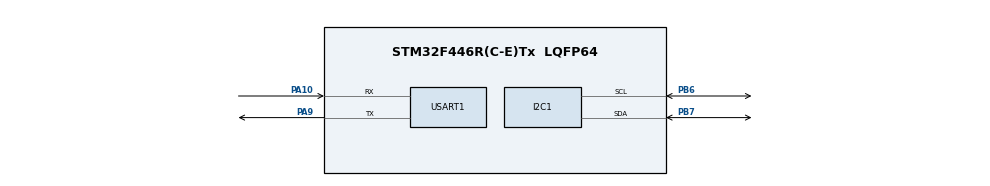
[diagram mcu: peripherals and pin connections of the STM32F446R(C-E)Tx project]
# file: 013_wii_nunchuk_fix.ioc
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Mcu.Family=STM32F4
Mcu.Name=STM32F446R(C-E)Tx
Mcu.Package=LQFP64
NVIC.I2C1_ER_IRQn=true\:0\:0\:false\:false\:true\:true\:true\:true
NVIC.I2C1_EV_IRQn=true\:0\:0\:false\:false\:true\:true\:true\:true
NVIC.PriorityGroup=NVIC_PRIORITYGROUP_4
NVIC.USART1_IRQn=true\:0\:0\:false\:false\:true\:true\:true\:true
PA10.Mode=Asynchronous
PA10.Signal=USART1_RX
PA9.Mode=Asynchronous
PA9.Signal=USART1_TX
PB6.Mode=I2C
PB6.Signal=I2C1_SCL
PB7.Mode=I2C
PB7.Signal=I2C1_SDA
ProjectManager.HeapSize=0x200
ProjectManager.StackSize=0x400
ProjectManager.TargetToolchain=STM32CubeIDE
RCC.CortexFreq_Value=16000000
RCC.USBFreq_Value=96000000
RCC.VCOOutputFreq_Value=192000000
TIM2.Period=200 - 1
TIM2.Prescaler=16000-1
USART1.VirtualMode=VM_ASYNC
VP_TIM2_VS_ClockSourceINT.Mode=Internal
board=custom

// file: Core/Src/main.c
/* USER CODE BEGIN Header */
/**
  ******************************************************************************
  * @file           : main.c
  * @brief          : Main program body
  ******************************************************************************
  * @attention
  *
  * Copyright (c) 2025 STMicroelectronics.
  * All rights reserved.
  *
  * This software is licensed under terms that can be found in the LICENSE file
  * in the root directory of this software component.
  * If no LICENSE file comes with this software, it is provided AS-IS.
  *
  ******************************************************************************
  */
/* USER CODE END Header */
#include "main.h"

/* USER CODE BEGIN Includes */
#include "wii_nunchuk.h"
#include <stdio.h>
#include <string.h>
/* USER CODE END Includes */

/* USER CODE BEGIN PD */
#define READ_INTERVAL_MS    200  // read nunchuk every 200ms
/* USER CODE END PD */

I2C_HandleTypeDef hi2c1;

TIM_HandleTypeDef htim2;

UART_HandleTypeDef huart1;

/* USER CODE BEGIN PV */
char readBuf[1];
uint8_t txData;
__IO ITStatus UartReady = SET;
RingBuffer txBuf, rxBuf;
wii_nunchuk_handle_t nunchuk_handle;
uint32_t last_read_time = 0;
char uart_buffer[200];
/* USER CODE END PV */

void SystemClock_Config(void);
static void MX_GPIO_Init(void);
static void MX_I2C1_Init(void);
static void MX_USART1_UART_Init(void);
static void MX_TIM2_Init(void);
/* USER CODE BEGIN PFP */
void print_nunchuk_data(wii_nunchuk_data_t *data);
void debug_print_raw_data(uint8_t *data, uint8_t size);
void debug_print_i2c_status(I2C_HandleTypeDef *hi2c);
/* USER CODE END PFP */

/* USER CODE BEGIN 0 */
void print_nunchuk_data_debug(wii_nunchuk_data_t *data)
{
    static uint32_t counter = 0;
    static char print_buffer[120];  // Static buffer to persist across function calls
    counter++;

    if (data->data_valid) {
        int len = snprintf(print_buffer, sizeof(print_buffer),
            "[%lu] Joy:%3d,%3d Acc:%4d,%4d,%4d Btn:C%d,Z%d\r\n",
            counter,
            data->joystick_x, data->joystick_y,
            data->accel_x, data->accel_y, data->accel_z,
            data->button_c, data->button_z);

        UART_Transmit(&huart1, (uint8_t*)print_buffer, len);
    } else {
        int len = snprintf(print_buffer, sizeof(print_buffer), "[%lu] INVALID\r\n", counter);
        UART_Transmit(&huart1, (uint8_t*)print_buffer, len);
    }
}
/* USER CODE END 0 */

int main(void)
{

  /* MCU Configuration--------------------------------------------------------*/

  /* Reset of all peripherals, Initializes the Flash interface and the Systick. */
  HAL_Init();

  /* Configure the system clock */
  SystemClock_Config();

  /* Initialize all configured peripherals */
  MX_GPIO_Init();
  MX_I2C1_Init();
  MX_USART1_UART_Init();
  MX_TIM2_Init();
  /* USER CODE BEGIN 2 */
  // Initialize ring buffers
  RingBuffer_Init(&txBuf);
  RingBuffer_Init(&rxBuf);

  // Initialize Wii Nunchuk driver - purely interrupt-driven
  UART_Transmit(&huart1, (uint8_t*)"Starting Nunchuk initialization...\r\n", 38);

  wii_nunchuk_result_t result = wii_nunchuk_init(&nunchuk_handle, &hi2c1, WII_NUNCHUK_WHITE);

  if (result == WII_NUNCHUK_OK) {
      UART_Transmit(&huart1, (uint8_t*)"Nunchuk initialization started successfully!\r\n", 46);
  } else {
      UART_Transmit(&huart1, (uint8_t*)"Nunchuk initialization failed!\r\n", 33);
  }

  HAL_TIM_Base_Start_IT(&htim2);
  /* USER CODE END 2 */

  /* Infinite loop */
  /* USER CODE BEGIN WHILE */
  while (1)
  {
	  __WFI();
    /* USER CODE END WHILE */

  }
}

void SystemClock_Config(void)
{
  RCC_OscInitTypeDef RCC_OscInitStruct = {0};
  RCC_ClkInitTypeDef RCC_ClkInitStruct = {0};

  /** Configure the main internal regulator output voltage
  */
  __HAL_RCC_PWR_CLK_ENABLE();
  __HAL_PWR_VOLTAGESCALING_CONFIG(PWR_REGULATOR_VOLTAGE_SCALE3);

  /** Initializes the RCC Oscillators according to the specified parameters
  * in the RCC_OscInitTypeDef structure.
  */
  RCC_OscInitStruct.OscillatorType = RCC_OSCILLATORTYPE_HSI;
  RCC_OscInitStruct.HSIState = RCC_HSI_ON;
  RCC_OscInitStruct.HSICalibrationValue = RCC_HSICALIBRATION_DEFAULT;
  RCC_OscInitStruct.PLL.PLLState = RCC_PLL_NONE;
  if (HAL_RCC_OscConfig(&RCC_OscInitStruct) != HAL_OK)
  {
    Error_Handler();
  }

  /** Initializes the CPU, AHB and APB buses clocks
  */
  RCC_ClkInitStruct.ClockType = RCC_CLOCKTYPE_HCLK|RCC_CLOCKTYPE_SYSCLK
                              |RCC_CLOCKTYPE_PCLK1|RCC_CLOCKTYPE_PCLK2;
  RCC_ClkInitStruct.SYSCLKSource = RCC_SYSCLKSOURCE_HSI;
  RCC_ClkInitStruct.AHBCLKDivider = RCC_SYSCLK_DIV1;
  RCC_ClkInitStruct.APB1CLKDivider = RCC_HCLK_DIV1;
  RCC_ClkInitStruct.APB2CLKDivider = RCC_HCLK_DIV1;

  if (HAL_RCC_ClockConfig(&RCC_ClkInitStruct, FLASH_LATENCY_0) != HAL_OK)
  {
    Error_Handler();
  }
}

static void MX_I2C1_Init(void)
{

  hi2c1.Instance = I2C1;
  hi2c1.Init.ClockSpeed = 100000;
  hi2c1.Init.DutyCycle = I2C_DUTYCYCLE_2;
  hi2c1.Init.OwnAddress1 = 0;
  hi2c1.Init.AddressingMode = I2C_ADDRESSINGMODE_7BIT;
  hi2c1.Init.DualAddressMode = I2C_DUALADDRESS_DISABLE;
  hi2c1.Init.OwnAddress2 = 0;
  hi2c1.Init.GeneralCallMode = I2C_GENERALCALL_DISABLE;
  hi2c1.Init.NoStretchMode = I2C_NOSTRETCH_DISABLE;
  if (HAL_I2C_Init(&hi2c1) != HAL_OK)
  {
    Error_Handler();
  }

}

static void MX_TIM2_Init(void)
{

  TIM_ClockConfigTypeDef sClockSourceConfig = {0};
  TIM_MasterConfigTypeDef sMasterConfig = {0};

  htim2.Instance = TIM2;
  htim2.Init.Prescaler = 16000-1;
  htim2.Init.CounterMode = TIM_COUNTERMODE_UP;
  htim2.Init.Period = 200 - 1;
  htim2.Init.ClockDivision = TIM_CLOCKDIVISION_DIV1;
  htim2.Init.AutoReloadPreload = TIM_AUTORELOAD_PRELOAD_DISABLE;
  if (HAL_TIM_Base_Init(&htim2) != HAL_OK)
  {
    Error_Handler();
  }
  sClockSourceConfig.ClockSource = TIM_CLOCKSOURCE_INTERNAL;
  if (HAL_TIM_ConfigClockSource(&htim2, &sClockSourceConfig) != HAL_OK)
  {
    Error_Handler();
  }
  sMasterConfig.MasterOutputTrigger = TIM_TRGO_RESET;
  sMasterConfig.MasterSlaveMode = TIM_MASTERSLAVEMODE_DISABLE;
  if (HAL_TIMEx_MasterConfigSynchronization(&htim2, &sMasterConfig) != HAL_OK)
  {
    Error_Handler();
  }

}

static void MX_USART1_UART_Init(void)
{

  huart1.Instance = USART1;
  huart1.Init.BaudRate = 115200;
  huart1.Init.WordLength = UART_WORDLENGTH_8B;
  huart1.Init.StopBits = UART_STOPBITS_1;
  huart1.Init.Parity = UART_PARITY_NONE;
  huart1.Init.Mode = UART_MODE_TX_RX;
  huart1.Init.HwFlowCtl = UART_HWCONTROL_NONE;
  huart1.Init.OverSampling = UART_OVERSAMPLING_16;
  if (HAL_UART_Init(&huart1) != HAL_OK)
  {
    Error_Handler();
  }

}

static void MX_GPIO_Init(void)
{

  /* GPIO Ports Clock Enable */
  __HAL_RCC_GPIOA_CLK_ENABLE();
  __HAL_RCC_GPIOB_CLK_ENABLE();

}

/* USER CODE BEGIN 4 */
uint8_t UART_Transmit(UART_HandleTypeDef *huart, uint8_t *pData, uint16_t len)
{
  if(HAL_UART_Transmit_IT(huart, pData, len) != HAL_OK)
  {
    if(RingBuffer_Write(&txBuf, pData, len) != RING_BUFFER_OK)
      return 0;
  }
  return 1;
}

void HAL_UART_RxCpltCallback(UART_HandleTypeDef *UartHandle)
{
 /* Set transmission flag: transfer complete*/
 UartReady = SET;
}

void HAL_UART_TxCpltCallback(UART_HandleTypeDef *huart)
{
  if(RingBuffer_GetDataLength(&txBuf) > 0)
  {
    RingBuffer_Read(&txBuf, &txData, 1);
    HAL_UART_Transmit_IT(huart, &txData, 1);
  }
}

void print_nunchuk_data(wii_nunchuk_data_t *data)
{
    if (data->data_valid)
    {
        int len = snprintf(uart_buffer, sizeof(uart_buffer),
            "Joystick: X=%3d Y=%3d | Accel: X=%4d Y=%4d Z=%4d | Buttons: C=%d Z=%d\r\n",
            data->joystick_x, data->joystick_y,
            data->accel_x, data->accel_y, data->accel_z,
            data->button_c, data->button_z);

        UART_Transmit(&huart1, (uint8_t*)uart_buffer, len);
    }
    else
    {
    	UART_Transmit(&huart1, (uint8_t*)"Invalid data received\r\n", 23);
    }
}

void HAL_I2C_MasterTxCpltCallback(I2C_HandleTypeDef *hi2c)
{
    if (hi2c == &hi2c1) {
        wii_nunchuk_i2c_tx_cplt_callback(&nunchuk_handle);
    }
}

void HAL_I2C_MasterRxCpltCallback(I2C_HandleTypeDef *hi2c)
{
    if (hi2c == &hi2c1) {
        wii_nunchuk_i2c_rx_cplt_callback(&nunchuk_handle);

        // Process data immediately in interrupt context
        if (wii_nunchuk_process_data(&nunchuk_handle) == WII_NUNCHUK_OK) {
            wii_nunchuk_data_t nunchuk_data;
            if (wii_nunchuk_get_data(&nunchuk_handle, &nunchuk_data) == WII_NUNCHUK_OK) {
                print_nunchuk_data_debug(&nunchuk_data);
            }
        }
    }
}

void HAL_I2C_ErrorCallback(I2C_HandleTypeDef *hi2c)
{
    if (hi2c == &hi2c1) {
        wii_nunchuk_i2c_error_callback(&nunchuk_handle);

        // Debug: Print I2C error
        char error_msg[50];
        int len = snprintf(error_msg, sizeof(error_msg), "I2C Error: 0x%08lX\r\n", hi2c->ErrorCode);
        UART_Transmit(&huart1, (uint8_t*)error_msg, len);
    }
}

void debug_print_raw_data(uint8_t *data, uint8_t size)
{
    char debug_buffer[150];
    int len = snprintf(debug_buffer, sizeof(debug_buffer), "Raw data: ");

    for(int i = 0; i < size; i++) {
        len += snprintf(debug_buffer + len, sizeof(debug_buffer) - len, "0x%02X ", data[i]);
    }
    len += snprintf(debug_buffer + len, sizeof(debug_buffer) - len, "\r\n");

    UART_Transmit(&huart1, (uint8_t*)debug_buffer, len);
}

void debug_print_i2c_status(I2C_HandleTypeDef *hi2c)
{
    char debug_buffer[100];
    int len = snprintf(debug_buffer, sizeof(debug_buffer),
        "I2C State: %d, Error: 0x%08lX\r\n",
        (int)hi2c->State, hi2c->ErrorCode);
    UART_Transmit(&huart1, (uint8_t*)debug_buffer, len);
}

void HAL_TIM_PeriodElapsedCallback(TIM_HandleTypeDef *htim)
{
    if (htim == &htim2) {
        // Automatically trigger nunchuk read every 200ms
        wii_nunchuk_update(&nunchuk_handle);

        if (wii_nunchuk_get_state(&nunchuk_handle) == WII_NUNCHUK_STATE_READY) {
            wii_nunchuk_read_async(&nunchuk_handle);
        }
    }
}
/* USER CODE END 4 */

void Error_Handler(void)
{
  __disable_irq();
  while (1)
  {
  }
}
